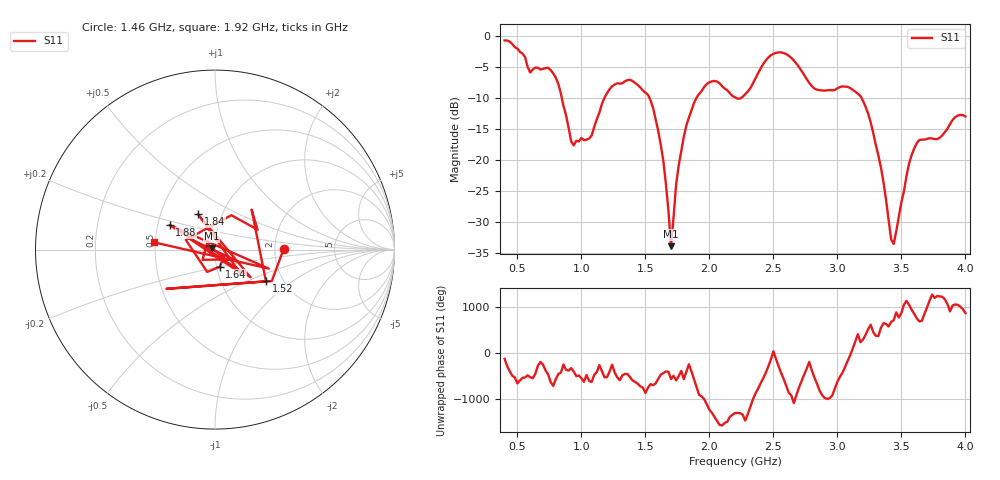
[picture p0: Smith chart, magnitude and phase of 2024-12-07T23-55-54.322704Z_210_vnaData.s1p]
!Created with skrf (http://scikit-rf.org).
# Hz S RI R 50.0
!freq ReS11 ImS11
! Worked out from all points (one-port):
!   181 points, 400 MHz to 4 GHz, reference 50 ohm
!   lowest |S11| = -33.9 dB at 1.7 GHz (marker M1), VSWR 1.04, Z = 48.2 + j0.731 ohm
!   |S11| at or under -10 dB: 846.6 MHz to 1.18 GHz (333.4 MHz wide, 32.9 % of centre); 1.531 GHz to 1.899 GHz (368.3 MHz wide, 21.5 % of centre); 3.187 GHz to end of sweep (the widest 3 of 4)
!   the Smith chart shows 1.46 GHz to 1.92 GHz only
!   S11 on the Smith chart (normalised r, x): 1.46 GHz: 2.24, +0.02; 1.52 GHz: 1.63, -0.65; 1.64 GHz: 1.04, -0.20; 1.84 GHz: 0.77, +0.32; 1.88 GHz: 0.58, +0.17; 1.92 GHz: 0.49, +0.04
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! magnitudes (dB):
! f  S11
! 400 MHz  -0.8
! 540 MHz  -2.9
! 600 MHz  -5.9
! 760 MHz  -5.5
! 860 MHz  -11.3
! 940 MHz  -17.7
! 1.08 GHz  -16.1
! 1.18 GHz  -10.0
! 1.3 GHz  -7.7
! 1.46 GHz  -8.3
! 1.52 GHz  -9.5
! 1.64 GHz  -20.1
! 1.7 GHz  -33.9
! 1.76 GHz  -20.9
! 1.84 GHz  -13.2
! 1.88 GHz  -10.8
! 1.92 GHz  -9.4
! 2.04 GHz  -7.3
! 2.2 GHz  -9.9
! 2.48 GHz  -3.2
! 2.66 GHz  -4.0
! 2.82 GHz  -8.5
! 3.1 GHz  -8.4
! 3.26 GHz  -13.9
! 3.44 GHz  -33.5
! 3.56 GHz  -20.6
! 3.64 GHz  -16.8
! 4 GHz  -13.0
